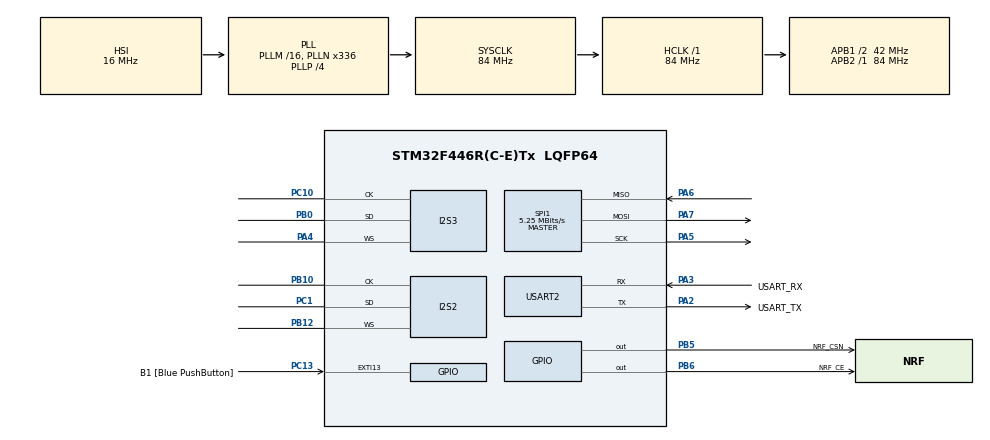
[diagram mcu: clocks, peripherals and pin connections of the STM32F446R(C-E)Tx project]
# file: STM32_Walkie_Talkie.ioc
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Dma.Request0=SPI2_TX
Dma.Request1=SPI3_RX
Dma.SPI2_TX.0.Direction=DMA_MEMORY_TO_PERIPH
Dma.SPI2_TX.0.FIFOMode=DMA_FIFOMODE_DISABLE
Dma.SPI2_TX.0.Instance=DMA1_Stream4
Dma.SPI2_TX.0.MemDataAlignment=DMA_MDATAALIGN_HALFWORD
Dma.SPI2_TX.0.MemInc=DMA_MINC_ENABLE
Dma.SPI2_TX.0.Mode=DMA_NORMAL
Dma.SPI2_TX.0.PeriphDataAlignment=DMA_PDATAALIGN_HALFWORD
Dma.SPI2_TX.0.PeriphInc=DMA_PINC_DISABLE
Dma.SPI2_TX.0.Priority=DMA_PRIORITY_LOW
Dma.SPI3_RX.1.Direction=DMA_PERIPH_TO_MEMORY
Dma.SPI3_RX.1.FIFOMode=DMA_FIFOMODE_DISABLE
Dma.SPI3_RX.1.Instance=DMA1_Stream0
Dma.SPI3_RX.1.MemDataAlignment=DMA_MDATAALIGN_HALFWORD
Dma.SPI3_RX.1.MemInc=DMA_MINC_ENABLE
Dma.SPI3_RX.1.Mode=DMA_NORMAL
Dma.SPI3_RX.1.PeriphDataAlignment=DMA_PDATAALIGN_HALFWORD
Dma.SPI3_RX.1.PeriphInc=DMA_PINC_DISABLE
Dma.SPI3_RX.1.Priority=DMA_PRIORITY_LOW
I2S2.AudioFreq=I2S_AUDIOFREQ_16K
I2S2.ErrorAudioFreq=-0.26 %
I2S2.FullDuplexMode=I2S_FULLDUPLEXMODE_DISABLE
I2S2.Instance=SPI$Index
I2S2.RealAudioFreq=15.957 KHz
I2S2.VirtualMode=I2S_MODE_MASTER
I2S3.AudioFreq=I2S_AUDIOFREQ_16K
I2S3.ErrorAudioFreq=-0.26 %
I2S3.FullDuplexMode=I2S_FULLDUPLEXMODE_DISABLE
I2S3.Instance=SPI$Index
I2S3.Mode=I2S_MODE_MASTER_RX
I2S3.RealAudioFreq=15.957 KHz
I2S3.VirtualMode=I2S_MODE_MASTER
Mcu.Family=STM32F4
Mcu.Name=STM32F446R(C-E)Tx
Mcu.Package=LQFP64
NVIC.DMA1_Stream0_IRQn=true\:0\:0\:false\:false\:true\:false\:true\:true
NVIC.DMA1_Stream4_IRQn=true\:0\:0\:false\:false\:true\:false\:true\:true
NVIC.PriorityGroup=NVIC_PRIORITYGROUP_0
PA13.GPIO_Label=TMS
PA13.Signal=SYS_JTMS-SWDIO
PA14.GPIO_Label=TCK
PA14.Signal=SYS_JTCK-SWCLK
PA2.GPIO_Label=USART_TX
PA2.Mode=Asynchronous
PA2.Signal=USART2_TX
PA3.GPIO_Label=USART_RX
PA3.Mode=Asynchronous
PA3.Signal=USART2_RX
PA4.Mode=Half_Duplex_Master
PA4.Signal=I2S3_WS
PA5.Mode=Full_Duplex_Master
PA5.Signal=SPI1_SCK
PA6.Mode=Full_Duplex_Master
PA6.Signal=SPI1_MISO
PA7.Mode=Full_Duplex_Master
PA7.Signal=SPI1_MOSI
PB0.Mode=Half_Duplex_Master
PB0.Signal=I2S3_SD
PB10.Mode=Half_Duplex_Master
PB10.Signal=I2S2_CK
PB12.Mode=Half_Duplex_Master
PB12.Signal=I2S2_WS
PB3.GPIO_Label=SWO
PB3.Signal=SYS_JTDO-SWO
PB5.GPIO_Label=NRF_CSN
PB5.GPIO_Speed=GPIO_SPEED_FREQ_VERY_HIGH
PB5.PinState=GPIO_PIN_SET
PB5.Signal=GPIO_Output
PB6.GPIO_Label=NRF_CE
PB6.GPIO_Speed=GPIO_SPEED_FREQ_VERY_HIGH
PB6.PinState=GPIO_PIN_RESET
PB6.Signal=GPIO_Output
PC1.Mode=Half_Duplex_Master
PC1.Signal=I2S2_SD
PC10.Mode=Half_Duplex_Master
PC10.Signal=I2S3_CK
PC13.GPIO_Label=B1 [Blue PushButton]
PC13.GPIO_ModeDefaultEXTI=GPIO_MODE_IT_FALLING
PC13.Signal=GPXTI13
PC14-OSC32_IN.Signal=RCC_OSC32_IN
PC15-OSC32_OUT.Signal=RCC_OSC32_OUT
PH0-OSC_IN.Signal=RCC_OSC_IN
PH1-OSC_OUT.Signal=RCC_OSC_OUT
ProjectManager.HeapSize=0x200
ProjectManager.StackSize=0x400
ProjectManager.TargetToolchain=CMake
RCC.AHBFreq_Value=84000000
RCC.APB1CLKDivider=RCC_HCLK_DIV2
RCC.APB1Freq_Value=42000000
RCC.APB1TimFreq_Value=84000000
RCC.APB2Freq_Value=84000000
RCC.APB2TimFreq_Value=84000000
RCC.CortexFreq_Value=84000000
RCC.FLatency-AdvancedSettings=FLASH_LATENCY_2
RCC.HCLKFreq_Value=84000000
RCC.HSE_VALUE=8000000
RCC.HSI_VALUE=16000000
RCC.LSE_VALUE=32768
RCC.PLLN=336
RCC.PLLP=RCC_PLLP_DIV4
RCC.SYSCLKFreq_VALUE=84000000
RCC.SYSCLKSource=RCC_SYSCLKSOURCE_PLLCLK
RCC.USBFreq_Value=168000000
RCC.VCOOutputFreq_Value=336000000
SPI1.BaudRatePrescaler=SPI_BAUDRATEPRESCALER_16
SPI1.CalculateBaudRate=5.25 MBits/s
SPI1.Direction=SPI_DIRECTION_2LINES
SPI1.Mode=SPI_MODE_MASTER
SPI1.VirtualType=VM_MASTER
USART2.VirtualMode=VM_ASYNC
board=NUCLEO-F446RE

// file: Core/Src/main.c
/* USER CODE BEGIN Header */
/* USER CODE END Header */
#include "main.h"

/* USER CODE BEGIN Includes */
#include "nrf24l01p.h"
#include <stdio.h>
#include <string.h>
/* USER CODE END Includes */

I2S_HandleTypeDef hi2s2;
I2S_HandleTypeDef hi2s3;
DMA_HandleTypeDef hdma_spi2_tx;
DMA_HandleTypeDef hdma_spi3_rx;

SPI_HandleTypeDef hspi1;

UART_HandleTypeDef huart2;

/* USER CODE BEGIN PV */
uint8_t rx_data[NRF24L01P_PAYLOAD_LENGTH];

uint8_t nrf_address[5] = {'F', 'G', 'H', 'I', 'J'};
/* USER CODE END PV */

void SystemClock_Config(void);
void PeriphCommonClock_Config(void);
static void MX_GPIO_Init(void);
static void MX_DMA_Init(void);
static void MX_I2S2_Init(void);
static void MX_I2S3_Init(void);
static void MX_SPI1_Init(void);
static void MX_USART2_UART_Init(void);

/* USER CODE BEGIN 0 */
int __io_putchar(int ch) {
  HAL_UART_Transmit(&huart2, (uint8_t *)&ch, 1, HAL_MAX_DELAY);

  return ch;
}
/* USER CODE END 0 */

int main(void)
{

  /* MCU Configuration--------------------------------------------------------*/

  /* Reset of all peripherals, Initializes the Flash interface and the Systick. */
  HAL_Init();

  /* Configure the system clock */
  SystemClock_Config();

  /* Configure the peripherals common clocks */
  PeriphCommonClock_Config();

  /* Initialize all configured peripherals */
  MX_GPIO_Init();
  MX_DMA_Init();
  MX_I2S2_Init();
  MX_I2S3_Init();
  MX_SPI1_Init();
  MX_USART2_UART_Init();
  /* USER CODE BEGIN 2 */

  printf("\r\n================================\r\n");
  printf("STM32 nRF24L01 Receiver\r\n");
  printf("================================\r\n");

  /*
   * Initialize nRF24:
   *
   * Channel = 2476 MHz
   * RF channel number = 76
   * Data rate = 1 Mbps
   * Payload = 32 bytes
   */
  nrf24l01p_rx_init(2476, _1Mbps);

  /*
   * Set the same 5-byte address used by ESP32.
   *
   * RX_ADDR_P0 = FGHIJ
   * TX_ADDR    = FGHIJ
   */
  nrf24l01p_set_rx_address(nrf_address);
  nrf24l01p_set_tx_address(nrf_address);

  HAL_Delay(5);

  /*
   * Read back important registers.
   */
  printf("STATUS    = 0x%c\r\n", nrf24l01p_get_status());

  printf("FIFO      = 0x%c\r\n", nrf24l01p_get_fifo_status());

  printf("nRF24 initialized\r\n");

  /* USER CODE END 2 */

  /* Infinite loop */
  /* USER CODE BEGIN WHILE */
  while (1) {
    /* Poll nRF24 continuously inside the loop */
    if (nrf24l01p_data_ready()) {
      /* Read 32-byte packet */
      nrf24l01p_rx_receive(rx_data);

      /* Print received data */
      printf("RX: ");
      for (uint8_t i = 0; i < NRF24L01P_PAYLOAD_LENGTH; i++) {
        // Print as ASCII characters since the ESP32 is sending strings ("PING
        // X")
        if (rx_data[i] >= 32 && rx_data[i] <= 126) {
          printf("%c", rx_data[i]);
        } else {
          printf(".");
        }
      }
      printf("\r\n");
    }

    // Tiny delay to prevent flooding the CPU
    HAL_Delay(1);

    /* USER CODE END WHILE */

  }
}

void SystemClock_Config(void)
{
  RCC_OscInitTypeDef RCC_OscInitStruct = {0};
  RCC_ClkInitTypeDef RCC_ClkInitStruct = {0};

  /** Configure the main internal regulator output voltage
  */
  __HAL_RCC_PWR_CLK_ENABLE();
  __HAL_PWR_VOLTAGESCALING_CONFIG(PWR_REGULATOR_VOLTAGE_SCALE3);

  /** Initializes the RCC Oscillators according to the specified parameters
  * in the RCC_OscInitTypeDef structure.
  */
  RCC_OscInitStruct.OscillatorType = RCC_OSCILLATORTYPE_HSI;
  RCC_OscInitStruct.HSIState = RCC_HSI_ON;
  RCC_OscInitStruct.HSICalibrationValue = RCC_HSICALIBRATION_DEFAULT;
  RCC_OscInitStruct.PLL.PLLState = RCC_PLL_ON;
  RCC_OscInitStruct.PLL.PLLSource = RCC_PLLSOURCE_HSI;
  RCC_OscInitStruct.PLL.PLLM = 16;
  RCC_OscInitStruct.PLL.PLLN = 336;
  RCC_OscInitStruct.PLL.PLLP = RCC_PLLP_DIV4;
  RCC_OscInitStruct.PLL.PLLQ = 2;
  RCC_OscInitStruct.PLL.PLLR = 2;
  if (HAL_RCC_OscConfig(&RCC_OscInitStruct) != HAL_OK)
  {
    Error_Handler();
  }

  /** Initializes the CPU, AHB and APB buses clocks
  */
  RCC_ClkInitStruct.ClockType = RCC_CLOCKTYPE_HCLK|RCC_CLOCKTYPE_SYSCLK
                              |RCC_CLOCKTYPE_PCLK1|RCC_CLOCKTYPE_PCLK2;
  RCC_ClkInitStruct.SYSCLKSource = RCC_SYSCLKSOURCE_PLLCLK;
  RCC_ClkInitStruct.AHBCLKDivider = RCC_SYSCLK_DIV1;
  RCC_ClkInitStruct.APB1CLKDivider = RCC_HCLK_DIV2;
  RCC_ClkInitStruct.APB2CLKDivider = RCC_HCLK_DIV1;

  if (HAL_RCC_ClockConfig(&RCC_ClkInitStruct, FLASH_LATENCY_2) != HAL_OK)
  {
    Error_Handler();
  }
}

void PeriphCommonClock_Config(void)
{
  RCC_PeriphCLKInitTypeDef PeriphClkInitStruct = {0};

  /** Initializes the peripherals clock
  */
  PeriphClkInitStruct.PeriphClockSelection = RCC_PERIPHCLK_I2S_APB1;
  PeriphClkInitStruct.PLLI2S.PLLI2SN = 192;
  PeriphClkInitStruct.PLLI2S.PLLI2SP = RCC_PLLI2SP_DIV2;
  PeriphClkInitStruct.PLLI2S.PLLI2SM = 16;
  PeriphClkInitStruct.PLLI2S.PLLI2SR = 2;
  PeriphClkInitStruct.PLLI2S.PLLI2SQ = 2;
  PeriphClkInitStruct.PLLI2SDivQ = 1;
  PeriphClkInitStruct.I2sApb1ClockSelection = RCC_I2SAPB1CLKSOURCE_PLLI2S;
  if (HAL_RCCEx_PeriphCLKConfig(&PeriphClkInitStruct) != HAL_OK)
  {
    Error_Handler();
  }
}

static void MX_I2S2_Init(void)
{

  hi2s2.Instance = SPI2;
  hi2s2.Init.Mode = I2S_MODE_MASTER_TX;
  hi2s2.Init.Standard = I2S_STANDARD_PHILIPS;
  hi2s2.Init.DataFormat = I2S_DATAFORMAT_16B;
  hi2s2.Init.MCLKOutput = I2S_MCLKOUTPUT_DISABLE;
  hi2s2.Init.AudioFreq = I2S_AUDIOFREQ_16K;
  hi2s2.Init.CPOL = I2S_CPOL_LOW;
  hi2s2.Init.ClockSource = I2S_CLOCK_PLL;
  hi2s2.Init.FullDuplexMode = I2S_FULLDUPLEXMODE_DISABLE;
  if (HAL_I2S_Init(&hi2s2) != HAL_OK)
  {
    Error_Handler();
  }

}

static void MX_I2S3_Init(void)
{

  hi2s3.Instance = SPI3;
  hi2s3.Init.Mode = I2S_MODE_MASTER_RX;
  hi2s3.Init.Standard = I2S_STANDARD_PHILIPS;
  hi2s3.Init.DataFormat = I2S_DATAFORMAT_16B;
  hi2s3.Init.MCLKOutput = I2S_MCLKOUTPUT_DISABLE;
  hi2s3.Init.AudioFreq = I2S_AUDIOFREQ_16K;
  hi2s3.Init.CPOL = I2S_CPOL_LOW;
  hi2s3.Init.ClockSource = I2S_CLOCK_PLL;
  hi2s3.Init.FullDuplexMode = I2S_FULLDUPLEXMODE_DISABLE;
  if (HAL_I2S_Init(&hi2s3) != HAL_OK)
  {
    Error_Handler();
  }

}

static void MX_SPI1_Init(void)
{

  /* SPI1 parameter configuration*/
  hspi1.Instance = SPI1;
  hspi1.Init.Mode = SPI_MODE_MASTER;
  hspi1.Init.Direction = SPI_DIRECTION_2LINES;
  hspi1.Init.DataSize = SPI_DATASIZE_8BIT;
  hspi1.Init.CLKPolarity = SPI_POLARITY_LOW;
  hspi1.Init.CLKPhase = SPI_PHASE_1EDGE;
  hspi1.Init.NSS = SPI_NSS_SOFT;
  hspi1.Init.BaudRatePrescaler = SPI_BAUDRATEPRESCALER_16;
  hspi1.Init.FirstBit = SPI_FIRSTBIT_MSB;
  hspi1.Init.TIMode = SPI_TIMODE_DISABLE;
  hspi1.Init.CRCCalculation = SPI_CRCCALCULATION_DISABLE;
  hspi1.Init.CRCPolynomial = 10;
  if (HAL_SPI_Init(&hspi1) != HAL_OK)
  {
    Error_Handler();
  }

}

static void MX_USART2_UART_Init(void)
{

  huart2.Instance = USART2;
  huart2.Init.BaudRate = 115200;
  huart2.Init.WordLength = UART_WORDLENGTH_8B;
  huart2.Init.StopBits = UART_STOPBITS_1;
  huart2.Init.Parity = UART_PARITY_NONE;
  huart2.Init.Mode = UART_MODE_TX_RX;
  huart2.Init.HwFlowCtl = UART_HWCONTROL_NONE;
  huart2.Init.OverSampling = UART_OVERSAMPLING_16;
  if (HAL_UART_Init(&huart2) != HAL_OK)
  {
    Error_Handler();
  }

}

static void MX_DMA_Init(void)
{

  /* DMA controller clock enable */
  __HAL_RCC_DMA1_CLK_ENABLE();

  /* DMA interrupt init */
  /* DMA1_Stream0_IRQn interrupt configuration */
  HAL_NVIC_SetPriority(DMA1_Stream0_IRQn, 0, 0);
  HAL_NVIC_EnableIRQ(DMA1_Stream0_IRQn);
  /* DMA1_Stream4_IRQn interrupt configuration */
  HAL_NVIC_SetPriority(DMA1_Stream4_IRQn, 0, 0);
  HAL_NVIC_EnableIRQ(DMA1_Stream4_IRQn);

}

static void MX_GPIO_Init(void)
{
  GPIO_InitTypeDef GPIO_InitStruct = {0};

  /* GPIO Ports Clock Enable */
  __HAL_RCC_GPIOC_CLK_ENABLE();
  __HAL_RCC_GPIOH_CLK_ENABLE();
  __HAL_RCC_GPIOA_CLK_ENABLE();
  __HAL_RCC_GPIOB_CLK_ENABLE();

  /*Configure GPIO pin Output Level */
  HAL_GPIO_WritePin(NRF_CSN_GPIO_Port, NRF_CSN_Pin, GPIO_PIN_SET);

  /*Configure GPIO pin Output Level */
  HAL_GPIO_WritePin(NRF_CE_GPIO_Port, NRF_CE_Pin, GPIO_PIN_RESET);

  /*Configure GPIO pin : B1_Pin */
  GPIO_InitStruct.Pin = B1_Pin;
  GPIO_InitStruct.Mode = GPIO_MODE_IT_FALLING;
  GPIO_InitStruct.Pull = GPIO_NOPULL;
  HAL_GPIO_Init(B1_GPIO_Port, &GPIO_InitStruct);

  /*Configure GPIO pins : NRF_CSN_Pin NRF_CE_Pin */
  GPIO_InitStruct.Pin = NRF_CSN_Pin|NRF_CE_Pin;
  GPIO_InitStruct.Mode = GPIO_MODE_OUTPUT_PP;
  GPIO_InitStruct.Pull = GPIO_NOPULL;
  GPIO_InitStruct.Speed = GPIO_SPEED_FREQ_VERY_HIGH;
  HAL_GPIO_Init(GPIOB, &GPIO_InitStruct);

}

void Error_Handler(void)
{
}
